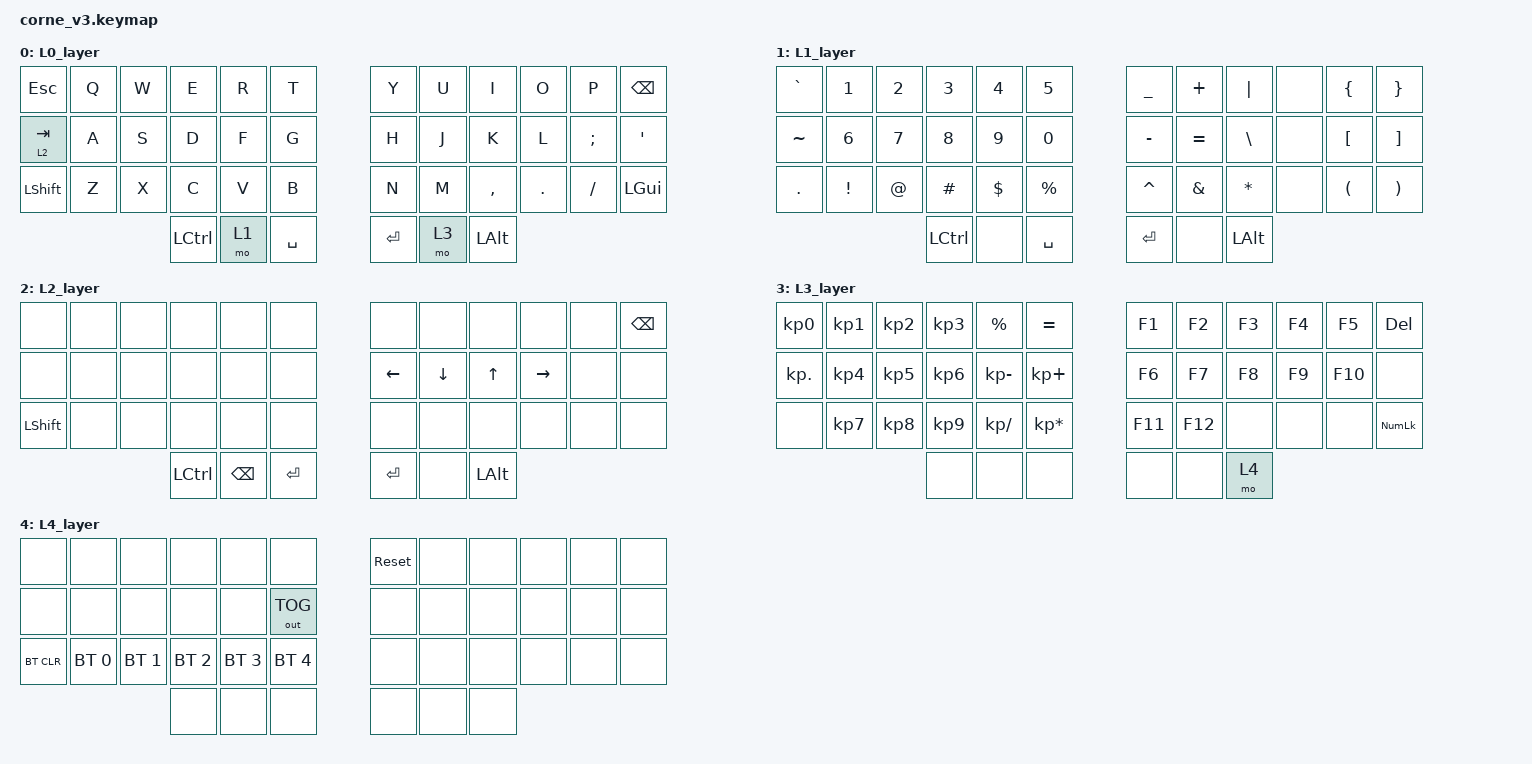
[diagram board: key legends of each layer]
// corne_v3.keymap

#include <behaviors.dtsi>
#include <dt-bindings/zmk/keys.h>
#include <dt-bindings/zmk/bt.h>
#include <dt-bindings/zmk/outputs.h>

/ {
    keymap {
        compatible = "zmk,keymap";

        L0_layer {
            // -----------------------------------------------------------------------------------------
            // |  ESC |  Q  |  W  |  E  |  R  |  T  |   |  Y  |  U   |  I  |  O  |  P  | BKSP |
            // | 2&TAB|  A  |  S  |  D  |  F  |  G  |   |  H  |  J   |  K  |  L  |  ;  |  '   |
            // | SHFT |  Z  |  X  |  C  |  V  |  B  |   |  N  |  M   |  ,  |  .  |  /  |  GUI |
            //                    | CTRL|  1  | SPC |   | ENT |  3   |  ALT  |
            bindings = <
                &kp ESC    &kp Q   &kp W   &kp E   &kp R   &kp T        &kp Y   &kp U  &kp I     &kp O   &kp P    &kp BSPC
                &lt 2 TAB  &kp A   &kp S   &kp D   &kp F   &kp G        &kp H   &kp J  &kp K     &kp L   &kp SEMI &kp SQT
                &kp LSHFT  &kp Z   &kp X   &kp C   &kp V   &kp B        &kp N   &kp M  &kp COMMA &kp DOT &kp FSLH &kp LGUI
                                        &kp LCTRL  &mo 1   &kp SPACE    &kp RET &mo 3  &kp LALT
            >;
        };

        L1_layer {
            // -----------------------------------------------------------------------------------------
            // |  `  |  1  |  2  |  3  |  4  |  5  |   |  _  |  +  |  |  |     |  {  |  }  |
            // |  ~  |  6  |  7  |  8  |  9  |  0  |   |  -  |  =  |  \  |     |  [  |  ]  |
            // |  .  |  !  |  @  |  #  |  $  |  %  |   |  ^  |  &  |  *  |     |  (  |  )  |
            //                   | CTRL|     | SPC |   | ENT |     |  ALT  |
            bindings = <
                &kp GRAVE &kp N1    &kp N2   &kp N3    &kp N4    &kp N5       &kp UNDER  &kp PLUS  &kp PIPE  &none  &kp LBRC  &kp RBRC
                &kp TILDE &kp N6    &kp N7   &kp N8    &kp N9    &kp N0       &kp MINUS  &kp EQUAL &kp BSLH  &none  &kp LBKT  &kp RBKT
                &kp DOT   &kp EXCL  &kp AT   &kp HASH  &kp DLLR  &kp PRCNT    &kp CARET  &kp AMPS  &kp STAR  &none  &kp LPAR  &kp RPAR
                                             &kp LCTRL &none     &kp SPACE    &kp RET    &none     &kp LALT
            >;
        };

        L2_layer {
            // -----------------------------------------------------------------------------------------
            // |     |     |     |     |     |     |   |     |     |     |     |     | BKSP |
            // |     |     |     |     |     |     |   | LEFT| DOWN|  UP |RIGHT|     |      |
            // | SHFT|     |     |     |     |     |   |     |     |     |     |     |      |
            //                   | CTRL| BKSP| ENT |   | ENT |     | ALT |
            bindings = <
                &none     &none    &none    &none    &none     &none        &none     &none     &none     &none     &none    &kp BSPC
                &none     &none    &none    &none    &none     &none        &kp LEFT  &kp DOWN  &kp UP    &kp RIGHT &none    &none
                &kp LSHFT &none    &none    &none    &none     &none        &none     &none     &none     &none     &none    &none
                                           &kp LCTRL &kp BSPC  &kp RET      &kp RET   &none     &kp LALT
            >;
        };

       L3_layer {
            // -----------------------------------------------------------------------------------------
            // |  0  |  1  |  2  |  3  |  %  |  =  |   |  F1  |  F2  |  F3  |  F4  |  F5  |  DEL |
            // |  .  |  4  |  5  |  6  |  -  |  +  |   |  F6  |  F7  |  F8  |  F9  |  F10 |      |
            // |     |  7  |  8  |  9  |  /  |  *  |   |  F11 |  F12 |      |      |      |Num Lock|
            //                   |     |     |     |   |      |      |  4   |
            bindings = <
                &kp KP_N0  &kp KP_N1  &kp KP_N2  &kp KP_N3  &kp PRCNT     &kp EQUAL         &kp F1    &kp F2    &kp F3    &kp F4    &kp F5   &kp DEL
                &kp KP_DOT &kp KP_N4  &kp KP_N5  &kp KP_N6  &kp KP_MINUS  &kp KP_PLUS       &kp F6    &kp F7    &kp F8    &kp F9    &kp F10  &none
                &none      &kp KP_N7  &kp KP_N8  &kp KP_N9  &kp KP_SLASH  &kp KP_MULTIPLY   &kp F11   &kp F12   &none     &none     &none    &kp KP_NLCK
                                                 &none      &none         &none             &none     &none     &mo 4
            >;
        };

        L4_layer {
            // -----------------------------------------------------------------------------------------
            // |      |     |     |     |     |     |   |RESET|     |     |     |     |      |
            // |      |     |     |     |     | OUT |   |     |     |     |     |     |      |
            // | BTCLR| BT1 | BT2 | BT3 | BT4 | BT5 |   |     |     |     |     |     |      |
            //                    |     |     |     |   |     |     |     |
            bindings = <
                &none       &none         &none         &none         &none         &none           &sys_reset  &none  &none  &none  &none  &none
                &none       &none         &none         &none         &none         &out OUT_TOG    &none       &none  &none  &none  &none  &none
                &bt BT_CLR  &bt BT_SEL 0  &bt BT_SEL 1  &bt BT_SEL 2  &bt BT_SEL 3  &bt BT_SEL 4    &none       &none  &none  &none  &none  &none
                                                        &none         &none         &none           &none       &none  &none
            >;
        };
    };
};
